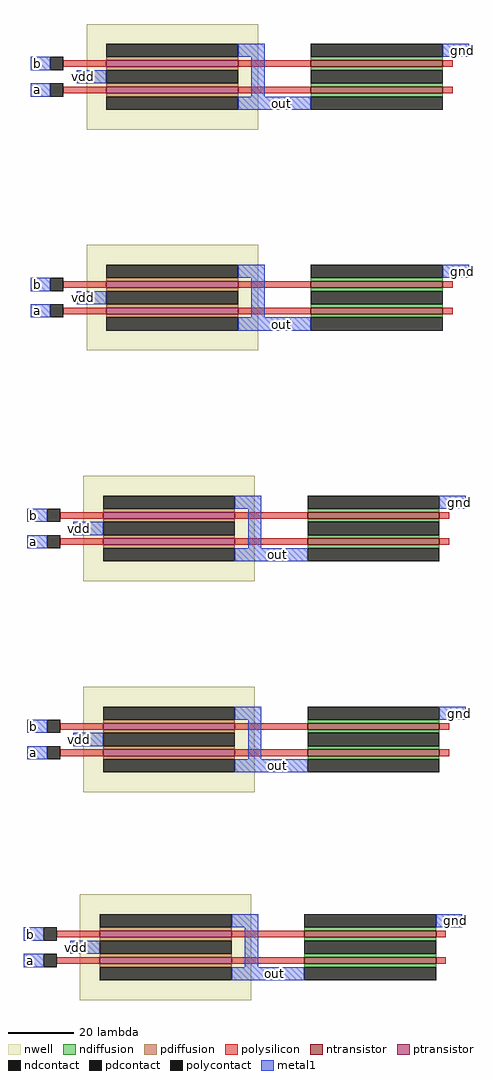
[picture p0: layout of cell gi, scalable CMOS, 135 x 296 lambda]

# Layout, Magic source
magic
tech scmos
<< nwell >>
rect 12 525 64 557
rect 12 458 64 490
rect 11 388 63 420
rect 11 324 63 356
rect 10 261 62 293
<< ntransistor >>
rect 80 544 120 546
rect 80 536 120 538
rect 80 477 120 479
rect 80 469 120 471
rect 79 407 119 409
rect 79 399 119 401
rect 79 343 119 345
rect 79 335 119 337
rect 78 280 118 282
rect 78 272 118 274
<< ptransistor >>
rect 18 544 58 546
rect 18 536 58 538
rect 18 477 58 479
rect 18 469 58 471
rect 17 407 57 409
rect 17 399 57 401
rect 17 343 57 345
rect 17 335 57 337
rect 16 280 56 282
rect 16 272 56 274
<< ndiffusion >>
rect 80 546 120 547
rect 80 543 120 544
rect 80 538 120 539
rect 80 535 120 536
rect 80 479 120 480
rect 80 476 120 477
rect 80 471 120 472
rect 80 468 120 469
rect 79 409 119 410
rect 79 406 119 407
rect 79 401 119 402
rect 79 398 119 399
rect 79 345 119 346
rect 79 342 119 343
rect 79 337 119 338
rect 79 334 119 335
rect 78 282 118 283
rect 78 279 118 280
rect 78 274 118 275
rect 78 271 118 272
<< pdiffusion >>
rect 18 546 58 547
rect 18 543 58 544
rect 18 538 58 539
rect 18 535 58 536
rect 18 479 58 480
rect 18 476 58 477
rect 18 471 58 472
rect 18 468 58 469
rect 17 409 57 410
rect 17 406 57 407
rect 17 401 57 402
rect 17 398 57 399
rect 17 345 57 346
rect 17 342 57 343
rect 17 337 57 338
rect 17 334 57 335
rect 16 282 56 283
rect 16 279 56 280
rect 16 274 56 275
rect 16 271 56 272
<< ndcontact >>
rect 80 547 120 551
rect 80 539 120 543
rect 80 531 120 535
rect 80 480 120 484
rect 80 472 120 476
rect 80 464 120 468
rect 79 410 119 414
rect 79 402 119 406
rect 79 394 119 398
rect 79 346 119 350
rect 79 338 119 342
rect 79 330 119 334
rect 78 283 118 287
rect 78 275 118 279
rect 78 267 118 271
<< pdcontact >>
rect 18 547 58 551
rect 18 539 58 543
rect 18 531 58 535
rect 18 480 58 484
rect 18 472 58 476
rect 18 464 58 468
rect 17 410 57 414
rect 17 402 57 406
rect 17 394 57 398
rect 17 346 57 350
rect 17 338 57 342
rect 17 330 57 334
rect 16 283 56 287
rect 16 275 56 279
rect 16 267 56 271
<< polysilicon >>
rect 5 544 18 546
rect 58 544 80 546
rect 120 544 123 546
rect 5 536 18 538
rect 58 536 80 538
rect 120 536 123 538
rect 5 477 18 479
rect 58 477 80 479
rect 120 477 123 479
rect 5 469 18 471
rect 58 469 80 471
rect 120 469 123 471
rect 4 407 17 409
rect 57 407 79 409
rect 119 407 122 409
rect 4 399 17 401
rect 57 399 79 401
rect 119 399 122 401
rect 4 343 17 345
rect 57 343 79 345
rect 119 343 122 345
rect 4 335 17 337
rect 57 335 79 337
rect 119 335 122 337
rect 3 280 16 282
rect 56 280 78 282
rect 118 280 121 282
rect 3 272 16 274
rect 56 272 78 274
rect 118 272 121 274
<< polycontact >>
rect 1 543 5 547
rect 1 535 5 539
rect 1 476 5 480
rect 1 468 5 472
rect 0 406 4 410
rect 0 398 4 402
rect 0 342 4 346
rect 0 334 4 338
rect -1 279 3 283
rect -1 271 3 275
<< metal1 >>
rect 58 547 66 551
rect 120 547 128 551
rect -5 543 1 547
rect 9 539 18 543
rect -5 535 1 539
rect 62 535 66 547
rect 58 531 80 535
rect 58 480 66 484
rect 120 480 128 484
rect -5 476 1 480
rect 9 472 18 476
rect -5 468 1 472
rect 62 468 66 480
rect 58 464 80 468
rect 57 410 65 414
rect 119 410 127 414
rect -6 406 0 410
rect 8 402 17 406
rect -6 398 0 402
rect 61 398 65 410
rect 57 394 79 398
rect 57 346 65 350
rect 119 346 127 350
rect -6 342 0 346
rect 8 338 17 342
rect -6 334 0 338
rect 61 334 65 346
rect 57 330 79 334
rect 56 283 64 287
rect 118 283 126 287
rect -7 279 -1 283
rect 7 275 16 279
rect -7 271 -1 275
rect 60 271 64 283
rect 56 267 78 271
<< labels >>
rlabel metal1 7 275 11 279 7 vdd
rlabel metal1 -7 279 -3 283 3 b
rlabel metal1 -7 271 -3 275 3 a
rlabel metal1 122 283 126 287 7 gnd
rlabel metal1 67 267 71 271 7 out
rlabel metal1 8 338 12 342 7 vdd
rlabel metal1 -6 342 -2 346 3 b
rlabel metal1 -6 334 -2 338 3 a
rlabel metal1 123 346 127 350 7 gnd
rlabel metal1 68 330 72 334 7 out
rlabel metal1 8 402 12 406 7 vdd
rlabel metal1 -6 406 -2 410 3 b
rlabel metal1 -6 398 -2 402 3 a
rlabel metal1 123 410 127 414 7 gnd
rlabel metal1 68 394 72 398 7 out
rlabel metal1 9 472 13 476 7 vdd
rlabel metal1 -5 476 -1 480 3 b
rlabel metal1 -5 468 -1 472 3 a
rlabel metal1 124 480 128 484 7 gnd
rlabel metal1 69 464 73 468 7 out
rlabel metal1 9 539 13 543 7 vdd
rlabel metal1 -5 543 -1 547 3 b
rlabel metal1 -5 535 -1 539 3 a
rlabel metal1 124 547 128 551 7 gnd
rlabel metal1 69 531 73 535 7 out
<< end >>
